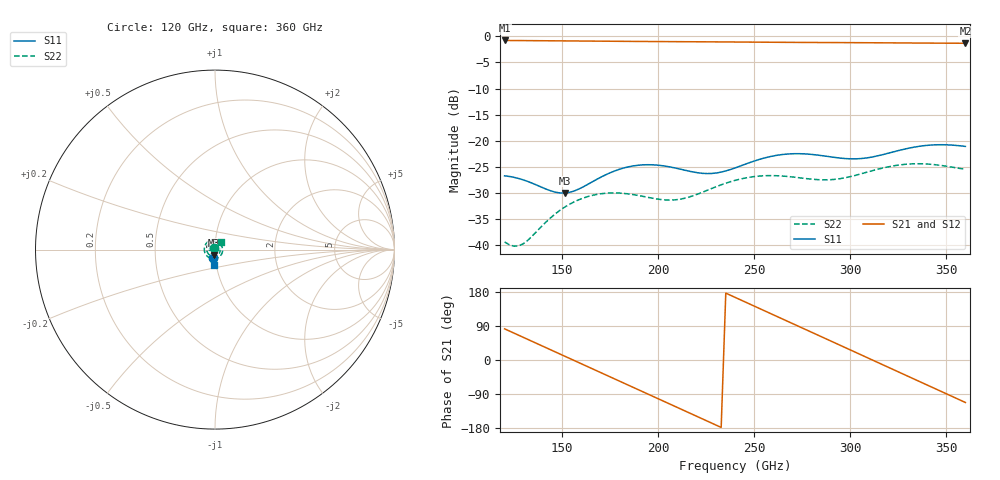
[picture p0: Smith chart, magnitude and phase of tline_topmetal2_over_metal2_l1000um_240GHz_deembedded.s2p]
! Created with skrf 2.0.1 (http://scikit-rf.org).
# GHz S DB R 50.0
!freq dBS11 angS11 dBS21 angS21 dBS12 angS12 dBS22 angS22
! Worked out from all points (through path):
!   101 points, 120 GHz to 360 GHz, reference 50 ohm
!   highest |S21| = -0.78 dB at 120 GHz (marker M1); lowest = -1.3 dB at 360 GHz (marker M2)
!   group delay of S21, straight-line fit = 6.42 ps
!   lowest |S11| = -30.1 dB at 151.2 GHz (marker M3), VSWR 1.06, Z = 49.5 - j3.09 ohm
!   |S11| at or under -10 dB: start of sweep to end of sweep
!   |S22| runs from -40.2 to -24.4 dB; largest |S21 - S12| = 1e-13
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120  -26.76 -102.3  -0.78 82.2  -0.78 82.2  -39.44 113.1
127.2  -27.25 -108.4  -0.80 65.6  -0.80 65.6  -40.20 58.7
134.4  -28.17 -111.4  -0.82 49.0  -0.82 49.0  -38.30 5.9
151.2  -30.06 -97.5  -0.86 10.3  -0.86 10.3  -32.78 -77.0
160.8  -28.89 -85.1  -0.89 -11.9  -0.89 -11.9  -31.03 -114.7
170.4  -26.96 -82.1  -0.91 -34.0  -0.91 -34.0  -30.18 -151.6
182.4  -25.21 -87.4  -0.95 -61.7  -0.95 -61.7  -30.13 160.4
192  -24.65 -94.1  -0.97 -83.8  -0.97 -83.8  -30.69 118.0
201.6  -24.78 -99.9  -0.99 -105.9  -0.99 -105.9  -31.30 70.0
211.2  -25.44 -102.2  -1.01 -128.1  -1.01 -128.1  -31.25 17.4
223.2  -26.28 -97.1  -1.04 -155.8  -1.04 -155.8  -29.87 -46.3
240  -25.24 -84.5  -1.07 165.4  -1.07 165.4  -27.63 -122.9
249.6  -23.97 -83.5  -1.10 143.2  -1.10 143.2  -26.91 -163.0
261.6  -22.83 -87.6  -1.13 115.5  -1.13 115.5  -26.73 146.9
271.2  -22.50 -92.4  -1.15 93.3  -1.15 93.3  -27.02 104.5
280.8  -22.68 -95.9  -1.17 71.1  -1.17 71.1  -27.42 58.7
302.4  -23.49 -91.9  -1.20 21.2  -1.20 21.2  -26.69 -51.7
312  -23.10 -86.8  -1.22 -1.0  -1.22 -1.0  -25.72 -97.1
321.6  -22.24 -84.4  -1.24 -23.3  -1.24 -23.3  -24.90 -139.3
340.8  -20.88 -88.8  -1.28 -67.7  -1.28 -67.7  -24.50 139.8
350.4  -20.80 -92.5  -1.30 -89.9  -1.30 -89.9  -24.93 97.4
360  -21.11 -94.5  -1.31 -112.1  -1.31 -112.1  -25.50 51.4
